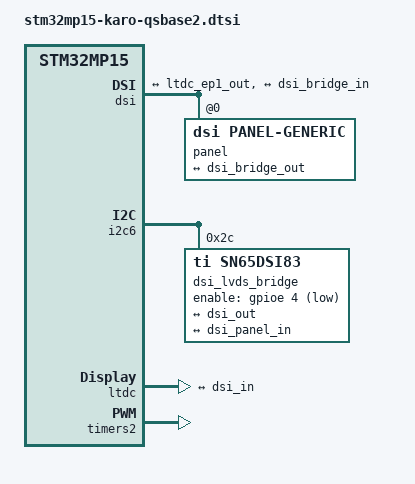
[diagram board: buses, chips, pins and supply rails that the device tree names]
// SPDX-License-Identifier: GPL-2.0 OR BSD-3-Clause
/*
 * Copyright (C) 2020 Markus Bauer <MB@KARO-electronics.de>
 */
/ {
	/delete-node/ sound;

};

&dsi {
	#address-cells = <1>;
	#size-cells = <0>;

	status = "okay";

	ports {
		#address-cells = <1>;
		#size-cells = <0>;

		port@0 {
			reg = <0>;
			dsi_in: endpoint {
				remote-endpoint = <&ltdc_ep1_out>;
			};
		};

		port@1 {
			reg = <1>;
			dsi_out: endpoint {
				remote-endpoint = <&dsi_bridge_in>;
			};
		};
	};

	panel@0 {
		compatible = "dsi,panel-generic";
		reg = <0>;
		status = "okay";

		port {
			dsi_panel_in: endpoint {
				remote-endpoint = <&dsi_bridge_out>;
			};
		};
	};
};

&i2c6 {
	status = "okay";

        dsi_lvds_bridge: sn65dsi84@2c {
                compatible = "ti,sn65dsi83";
                reg = <0x2c>;
                ti,dsi-lanes = <2>;
                ti,lvds-format = <2>;
                ti,lvds-bpp = <24>;
                ti,width-mm = <217>;
                ti,height-mm = <136>;
                enable-gpios = <&gpioe 4 GPIO_ACTIVE_LOW>;
                status = "okay";

                display-timings {
                        lvds {
                                clock-frequency = <68200000>;
                                hactive = <1280>;
                                vactive = <800>;
                                hback-porch = <5>;
                                hfront-porch = <64>;
                                vback-porch = <2>;
                                vfront-porch = <40>;
                                hsync-len = <1>;
                                vsync-len = <1>;
                                hsync-active = <0>;
                                vsync-active = <0>;
                                de-active = <0>;
                                pixelclk-active = <0>;
                        };
                };

		ports {
			#address-cells = <1>;
			#size-cells = <0>;

			port@0 {
				reg = <0>;
				dsi_bridge_in: endpoint@0 {
					remote-endpoint = <&dsi_out>;
				};
			};
			port@1 {
				reg = <1>;
				dsi_bridge_out: endpoint@0 {
					remote-endpoint = <&dsi_panel_in>;
				};
			};
		};
        };
};

&ltdc {
	status = "okay";

	ports {
		#address-cells = <1>;
		#size-cells = <0>;

		port@0 {
			reg = <0>;			
			ltdc_ep1_out: endpoint@0 {
				remote-endpoint = <&dsi_in>;
			};
		};
	};
};

&sdmmc1 {
	status = "disabled";
};

&timers2 {
	status = "okay";

	qsmp_pwm2: pwm {
		status = "okay";
	};
};

&uart4_pins {
	pins1 {
		/delete-property/ bias-disable;
		bias-pull-up;
	};
};
